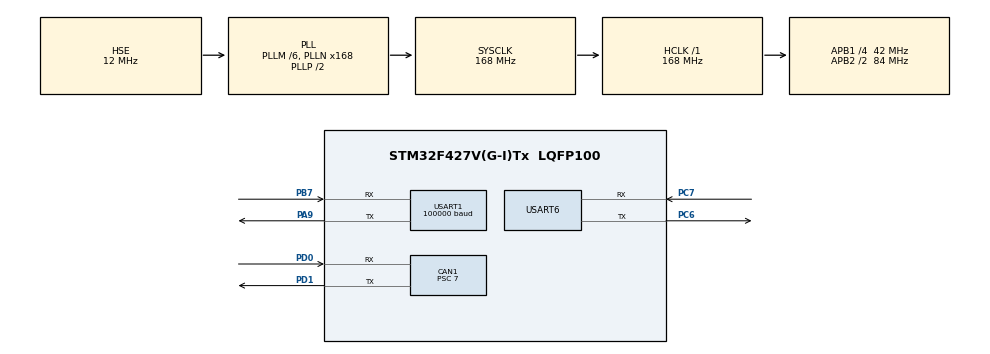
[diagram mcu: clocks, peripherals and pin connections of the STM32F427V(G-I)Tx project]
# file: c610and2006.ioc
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CAN1.ABOM=ENABLE
CAN1.AWUM=DISABLE
CAN1.BS1=CAN_BS1_3TQ
CAN1.BS2=CAN_BS2_2TQ
CAN1.CalculateTimeQuantum=166.66666666666669
CAN1.Prescaler=7
Dma.Request0=USART6_TX
Dma.Request1=USART1_RX
Dma.USART1_RX.1.Direction=DMA_PERIPH_TO_MEMORY
Dma.USART1_RX.1.FIFOMode=DMA_FIFOMODE_DISABLE
Dma.USART1_RX.1.Instance=DMA2_Stream2
Dma.USART1_RX.1.MemDataAlignment=DMA_MDATAALIGN_BYTE
Dma.USART1_RX.1.MemInc=DMA_MINC_ENABLE
Dma.USART1_RX.1.Mode=DMA_CIRCULAR
Dma.USART1_RX.1.PeriphDataAlignment=DMA_PDATAALIGN_BYTE
Dma.USART1_RX.1.PeriphInc=DMA_PINC_DISABLE
Dma.USART1_RX.1.Priority=DMA_PRIORITY_VERY_HIGH
Dma.USART6_TX.0.Direction=DMA_MEMORY_TO_PERIPH
Dma.USART6_TX.0.FIFOMode=DMA_FIFOMODE_DISABLE
Dma.USART6_TX.0.Instance=DMA2_Stream6
Dma.USART6_TX.0.MemDataAlignment=DMA_MDATAALIGN_BYTE
Dma.USART6_TX.0.MemInc=DMA_MINC_ENABLE
Dma.USART6_TX.0.Mode=DMA_NORMAL
Dma.USART6_TX.0.PeriphDataAlignment=DMA_PDATAALIGN_BYTE
Dma.USART6_TX.0.PeriphInc=DMA_PINC_DISABLE
Dma.USART6_TX.0.Priority=DMA_PRIORITY_VERY_HIGH
FREERTOS.Tasks01=M3508,0,128,StartDefaultTask,Default,NULL,Dynamic,NULL,NULL;GM6020,-3,128,StartTask02,Default,NULL,Dynamic,NULL,NULL
Mcu.Family=STM32F4
Mcu.Name=STM32F427V(G-I)Tx
Mcu.Package=LQFP100
NVIC.CAN1_RX0_IRQn=true\:0\:0\:false\:false\:true\:false\:true\:true
NVIC.CAN1_TX_IRQn=true\:0\:0\:false\:false\:true\:false\:true\:true
NVIC.DMA2_Stream2_IRQn=true\:0\:0\:false\:false\:true\:false\:false\:true
NVIC.DMA2_Stream6_IRQn=true\:0\:0\:false\:false\:true\:false\:false\:true
NVIC.PriorityGroup=NVIC_PRIORITYGROUP_4
NVIC.TIM2_IRQn=true\:0\:0\:false\:false\:true\:false\:true\:true
NVIC.TIM6_DAC_IRQn=true\:0\:0\:false\:false\:true\:false\:false\:true
NVIC.TimeBase=TIM6_DAC_IRQn
NVIC.TimeBaseIP=TIM6
NVIC.USART1_IRQn=true\:0\:0\:false\:false\:true\:false\:true\:true
NVIC.USART6_IRQn=true\:0\:0\:false\:false\:true\:false\:true\:true
PA13.Mode=Serial_Wire
PA13.Signal=SYS_JTMS-SWDIO
PA14.Mode=Serial_Wire
PA14.Signal=SYS_JTCK-SWCLK
PA9.Mode=Asynchronous
PA9.Signal=USART1_TX
PB7.Mode=Asynchronous
PB7.Signal=USART1_RX
PC14/OSC32_IN.Mode=LSE-External-Oscillator
PC14/OSC32_IN.Signal=RCC_OSC32_IN
PC15/OSC32_OUT.Mode=LSE-External-Oscillator
PC15/OSC32_OUT.Signal=RCC_OSC32_OUT
PC6.Mode=Asynchronous
PC6.Signal=USART6_TX
PC7.Mode=Asynchronous
PC7.Signal=USART6_RX
PD0.GPIO_PuPd=GPIO_NOPULL
PD0.Mode=Master
PD0.Signal=CAN1_RX
PD1.Mode=Master
PD1.Signal=CAN1_TX
PH0/OSC_IN.Mode=HSE-External-Oscillator
PH0/OSC_IN.Signal=RCC_OSC_IN
PH1/OSC_OUT.Mode=HSE-External-Oscillator
PH1/OSC_OUT.Signal=RCC_OSC_OUT
ProjectManager.HeapSize=0x200
ProjectManager.StackSize=0x400
ProjectManager.TargetToolchain=MDK-ARM V5.27
RCC.48MHZClocksFreq_Value=84000000
RCC.AHBFreq_Value=168000000
RCC.APB1CLKDivider=RCC_HCLK_DIV4
RCC.APB1Freq_Value=42000000
RCC.APB1TimFreq_Value=84000000
RCC.APB2CLKDivider=RCC_HCLK_DIV2
RCC.APB2Freq_Value=84000000
RCC.APB2TimFreq_Value=168000000
RCC.CortexFreq_Value=168000000
RCC.HCLKFreq_Value=168000000
RCC.HSE_VALUE=12000000
RCC.HSI_VALUE=16000000
RCC.PLLM=6
RCC.PLLN=168
RCC.PLLSourceVirtual=RCC_PLLSOURCE_HSE
RCC.SYSCLKFreq_VALUE=168000000
RCC.SYSCLKSource=RCC_SYSCLKSOURCE_PLLCLK
RCC.VCOOutputFreq_Value=336000000
TIM2.AutoReloadPreload=TIM_AUTORELOAD_PRELOAD_ENABLE
TIM2.Period=99
TIM2.Prescaler=8400
USART1.BaudRate=100000
USART1.Parity=PARITY_EVEN
USART1.VirtualMode=VM_ASYNC
USART6.VirtualMode=VM_ASYNC
VP_FREERTOS_VS_CMSIS_V1.Mode=CMSIS_V1
VP_SYS_VS_tim6.Mode=TIM6
VP_TIM2_VS_ClockSourceINT.Mode=Internal
board=custom

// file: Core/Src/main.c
/* USER CODE BEGIN Header */
/**
  ******************************************************************************
  * @file           : main.c
  * @brief          : Main program body
  ******************************************************************************
  * @attention
  *
  * <h2><center>&copy; Copyright (c) 2022 STMicroelectronics.
  * All rights reserved.</center></h2>
  *
  * This software component is licensed by ST under BSD 3-Clause license,
  * the "License"; You may not use this file except in compliance with the
  * License. You may obtain a copy of the License at:
  *                        opensource.org/licenses/BSD-3-Clause
  *
  ******************************************************************************
  */
/* USER CODE END Header */
#include "main.h"
#include "cmsis_os.h"
#include "can.h"
#include "dma.h"
#include "tim.h"
#include "usart.h"
#include "gpio.h"

/* USER CODE BEGIN Includes */
#include "remoter.h"
#include "motor.h"
#include "shot.h"
/* USER CODE END Includes */

/* USER CODE BEGIN PV */
extern rc_info_t rc;
extern motor_measure_t ptr;
/* USER CODE END PV */

void SystemClock_Config(void);
void MX_FREERTOS_Init(void);

int main(void)
{

  /* MCU Configuration--------------------------------------------------------*/

  /* Reset of all peripherals, Initializes the Flash interface and the Systick. */
  HAL_Init();

  /* Configure the system clock */
  SystemClock_Config();

  /* Initialize all configured peripherals */
  MX_GPIO_Init();
  MX_DMA_Init();
  MX_CAN1_Init();
  MX_USART1_UART_Init();
  MX_USART6_UART_Init();
  MX_TIM2_Init();
  /* USER CODE BEGIN 2 */
	dbus_uart_init();
	CAN_1_Filter_Config();
  HAL_TIM_Base_Start_IT(&htim2);
	Chassis_Init();
  roll_Init();
  /* USER CODE END 2 */

  /* Call init function for freertos objects (in freertos.c) */
  MX_FREERTOS_Init();
  /* Start scheduler */
  osKernelStart();

  /* We should never get here as control is now taken by the scheduler */
  /* Infinite loop */
  while (1)
  {

  }
}

void SystemClock_Config(void)
{
  RCC_OscInitTypeDef RCC_OscInitStruct = {0};
  RCC_ClkInitTypeDef RCC_ClkInitStruct = {0};

  /** Configure the main internal regulator output voltage
  */
  __HAL_RCC_PWR_CLK_ENABLE();
  __HAL_PWR_VOLTAGESCALING_CONFIG(PWR_REGULATOR_VOLTAGE_SCALE1);
  /** Initializes the RCC Oscillators according to the specified parameters
  * in the RCC_OscInitTypeDef structure.
  */
  RCC_OscInitStruct.OscillatorType = RCC_OSCILLATORTYPE_HSE;
  RCC_OscInitStruct.HSEState = RCC_HSE_ON;
  RCC_OscInitStruct.PLL.PLLState = RCC_PLL_ON;
  RCC_OscInitStruct.PLL.PLLSource = RCC_PLLSOURCE_HSE;
  RCC_OscInitStruct.PLL.PLLM = 6;
  RCC_OscInitStruct.PLL.PLLN = 168;
  RCC_OscInitStruct.PLL.PLLP = RCC_PLLP_DIV2;
  RCC_OscInitStruct.PLL.PLLQ = 4;
  if (HAL_RCC_OscConfig(&RCC_OscInitStruct) != HAL_OK)
  {
    Error_Handler();
  }
  /** Initializes the CPU, AHB and APB buses clocks
  */
  RCC_ClkInitStruct.ClockType = RCC_CLOCKTYPE_HCLK|RCC_CLOCKTYPE_SYSCLK
                              |RCC_CLOCKTYPE_PCLK1|RCC_CLOCKTYPE_PCLK2;
  RCC_ClkInitStruct.SYSCLKSource = RCC_SYSCLKSOURCE_PLLCLK;
  RCC_ClkInitStruct.AHBCLKDivider = RCC_SYSCLK_DIV1;
  RCC_ClkInitStruct.APB1CLKDivider = RCC_HCLK_DIV4;
  RCC_ClkInitStruct.APB2CLKDivider = RCC_HCLK_DIV2;

  if (HAL_RCC_ClockConfig(&RCC_ClkInitStruct, FLASH_LATENCY_5) != HAL_OK)
  {
    Error_Handler();
  }
}

void HAL_TIM_PeriodElapsedCallback(TIM_HandleTypeDef *htim)
{
  if (htim->Instance == TIM6) {
    HAL_IncTick();
  }
}

void Error_Handler(void)
{
}

/************************ (C) COPYRIGHT STMicroelectronics *****END OF FILE****/

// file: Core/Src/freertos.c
/* USER CODE BEGIN Header */
/**
  ******************************************************************************
  * File Name          : freertos.c
  * Description        : Code for freertos applications
  ******************************************************************************
  * @attention
  *
  * <h2><center>&copy; Copyright (c) 2022 STMicroelectronics.
  * All rights reserved.</center></h2>
  *
  * This software component is licensed by ST under Ultimate Liberty license
  * SLA0044, the "License"; You may not use this file except in compliance with
  * the License. You may obtain a copy of the License at:
  *                             www.st.com/SLA0044
  *
  ******************************************************************************
  */
/* USER CODE END Header */

#include "FreeRTOS.h"
#include "task.h"
#include "main.h"
#include "cmsis_os.h"

/* USER CODE BEGIN Includes */
#include "can.h"
#include "remoter.h"
#include "motor.h"
#include "shot.h"
/* USER CODE END Includes */

/* USER CODE BEGIN Variables */
osThreadId ControlHandle;
osThreadId DieHandle;
/* USER CODE END Variables */
osThreadId M3508Handle;
osThreadId GM6020Handle;
osThreadId shotHandle;

/* USER CODE BEGIN FunctionPrototypes */
void StartTask03(void const * argument);
void StartTask04(void const * argument);
void StartTask05(void const * argument);
/* USER CODE END FunctionPrototypes */

void StartDefaultTask(void const * argument);
void StartTask02(void const * argument);

void MX_FREERTOS_Init(void); /* (MISRA C 2004 rule 8.1) */

/* GetIdleTaskMemory prototype (linked to static allocation support) */
void vApplicationGetIdleTaskMemory( StaticTask_t **ppxIdleTaskTCBBuffer, StackType_t **ppxIdleTaskStackBuffer, uint32_t *pulIdleTaskStackSize );

/* USER CODE BEGIN GET_IDLE_TASK_MEMORY */
static StaticTask_t xIdleTaskTCBBuffer;
static StackType_t xIdleStack[configMINIMAL_STACK_SIZE];

void vApplicationGetIdleTaskMemory( StaticTask_t **ppxIdleTaskTCBBuffer, StackType_t **ppxIdleTaskStackBuffer, uint32_t *pulIdleTaskStackSize )
{
  *ppxIdleTaskTCBBuffer = &xIdleTaskTCBBuffer;
  *ppxIdleTaskStackBuffer = &xIdleStack[0];
  *pulIdleTaskStackSize = configMINIMAL_STACK_SIZE;
  /* place for user code */
}
/* USER CODE END GET_IDLE_TASK_MEMORY */

void MX_FREERTOS_Init(void) {

  /* Create the thread(s) */
  /* definition and creation of M3508 */
  osThreadDef(M3508, StartDefaultTask, osPriorityNormal, 0, 128);  //3508模式
  M3508Handle = osThreadCreate(osThread(M3508), NULL);

  /* definition and creation of GM6020 */
  osThreadDef(GM6020, StartTask02, osPriorityNormal, 0, 128);  //6020模式
  GM6020Handle = osThreadCreate(osThread(GM6020), NULL);

  /* USER CODE BEGIN RTOS_THREADS */
  osThreadDef(Control, StartTask03, osPriorityRealtime, 0, 128);   //任务选择
  ControlHandle = osThreadCreate(osThread(Control), NULL);

  osThreadDef(Die, StartTask04, osPriorityNormal, 0, 128);   //失能
  DieHandle = osThreadCreate(osThread(Die), NULL);

  osThreadDef(shot, StartTask05, osPriorityNormal, 0, 128);   //失能
  shotHandle = osThreadCreate(osThread(shot), NULL);
  /* add threads, ... */
  /* USER CODE END RTOS_THREADS */

}

/* USER CODE BEGIN Header_StartDefaultTask */
/**
  * @brief  M3508
  * @param  argument: Not used
  * @retval None
  */
/* USER CODE END Header_StartDefaultTask */
void StartDefaultTask(void const * argument)
{
  /* USER CODE BEGIN StartDefaultTask */
  /* Infinite loop */
  for(;;)
  {
		DJI_GO();
		moter_TIM2_IRQHandler();
		osDelay(10);
  }
  /* USER CODE END StartDefaultTask */
}

/* USER CODE BEGIN Header_StartTask02 */
/**
* @brief GM6020
* @param argument: Not used
* @retval None
*/
/* USER CODE END Header_StartTask02 */
void StartTask02(void const * argument)
{
  /* USER CODE BEGIN StartTask02 */
  /* Infinite loop */
  for(;;)
  {
    Motor_SendData(0,0,0,0);
		DJI_GO();
		moter_M6020();
		osDelay(10);
  }
  /* USER CODE END StartTask02 */
}

/* USER CODE BEGIN Application */

/**
* @brief choice
* @param argument: Not used
* @retval None
*/
void StartTask03(void const * argument)
{
  /* USER CODE BEGIN StartTask02 */
  /* Infinite loop */
  for(;;)
  {
    if(rc.sw1 == 2 &&rc.sw2 == 2) //失能
    {
      //失能模式
      vTaskSuspend(M3508Handle);
      vTaskSuspend(GM6020Handle);
      vTaskResume(DieHandle);
      vTaskSuspend(shotHandle);
    }
	  if(rc.sw1 == 0 &&rc.sw2 == 0) //失能
    {
      //失能模式
      vTaskSuspend(M3508Handle);
      vTaskSuspend(GM6020Handle);
      vTaskResume(DieHandle);
      vTaskSuspend(shotHandle);
    }
    if(rc.sw1 == 3 &&rc.sw2 == 3) //3508
    {
      //底盘模式
      vTaskResume(M3508Handle);
      vTaskSuspend(GM6020Handle);
      vTaskSuspend(DieHandle);
      vTaskSuspend(shotHandle);
    }
    if(rc.sw1 == 2 &&rc.sw2 == 3) //6020
    {
      //6020模式
      vTaskSuspend(M3508Handle);
      vTaskResume(GM6020Handle);
      vTaskSuspend(DieHandle);
      vTaskSuspend(shotHandle);
    }
    if(rc.sw1 == 1 &&rc.sw2 == 1)
    {
      //发射模式
      vTaskSuspend(M3508Handle);
      vTaskSuspend(GM6020Handle);
      vTaskSuspend(DieHandle);
      vTaskResume(shotHandle);
    }
		osDelay(1);
  }
  /* USER CODE END StartTask02 */
}

/**
* @brief godie
* @param argument: Not used
* @retval None
*/
void StartTask04(void const * argument)
{
  /* USER CODE BEGIN StartTask02 */
  /* Infinite loop */
  for(;;)
  {
    godie();
		osDelay(1);
  }
  /* USER CODE END StartTask02 */
}

/**
* @brief shot
* @param argument: Not used
* @retval None
*/
void StartTask05(void const * argument)
{
  /* USER CODE BEGIN StartTask02 */
  /* Infinite loop */
  for(;;)
  {
    DJI_GO();
    roll_shot_go();
		osDelay(10);
  }
  /* USER CODE END StartTask02 */
}
/* USER CODE END Application */

/************************ (C) COPYRIGHT STMicroelectronics *****END OF FILE****/
